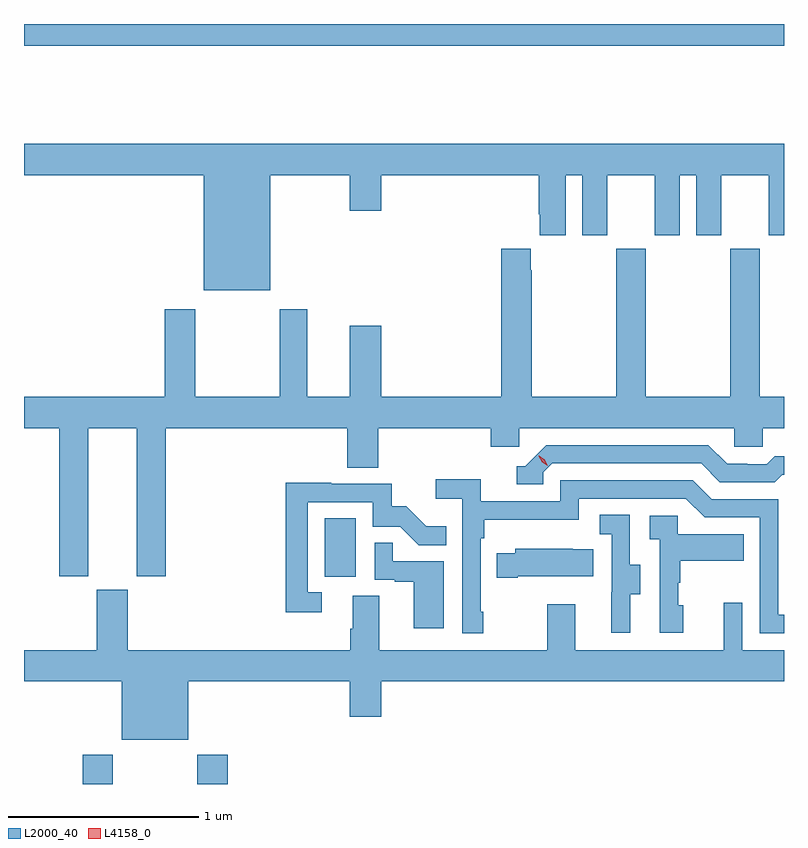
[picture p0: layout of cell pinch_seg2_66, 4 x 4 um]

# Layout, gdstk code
import gdstk
lib = gdstk.Library(unit=1e-6, precision=1e-09)
def R(c, l, rs):  # rectangles x0, y0, x1, y1
    for r in rs: c.add(gdstk.rectangle(r[:2], r[2:], *l))
def P(c, l, *ps):  # polygons
    for p in ps: c.add(gdstk.Polygon(p, *l))
L2000_40 = (2000, 40)
L4158_0 = (4158, 0)

pinch_seg2_66 = lib.new_cell('pinch_seg2_66')
R(pinch_seg2_66, L2000_40, [(1026.737,653.755,1026.897,653.908), (1027.342,653.755,1027.502,653.908), (1028.012,654.846,1028.176,655.153), (1026.429,657.64,1030.429,657.755)])
P(pinch_seg2_66, L2000_40, [(1027.726,656.96),(1028.144,656.96),(1028.144,656.772),(1028.308,656.772),(1028.308,656.96),(1029.137,656.96),(1029.137,656.755),(1029.143,656.755),(1029.143,656.643),(1029.28,656.643),(1029.28,656.96),(1029.368,656.96),(1029.368,656.643),(1029.499,656.643),(1029.499,656.96),(1029.749,656.96),(1029.749,656.643),(1029.88,656.643),(1029.88,656.96),(1029.968,656.96),(1029.968,656.643),(1030.099,656.643),(1030.099,656.96),(1030.349,656.96),(1030.349,656.643),(1030.429,656.643),(1030.429,657.124),(1026.429,657.124),(1026.429,656.96),(1027.376,656.96),(1027.376,656.354),(1027.726,656.354)],
  [(1026.766,655.628),(1027.022,655.628),(1027.022,654.849),(1027.175,654.849),(1027.175,655.628),(1028.129,655.628),(1028.129,655.42),(1028.294,655.42),(1028.294,655.628),(1028.885,655.628),(1028.885,655.53),(1029.036,655.53),(1029.036,655.628),(1030.167,655.628),(1030.167,655.53),(1030.317,655.53),(1030.317,655.628),(1030.429,655.628),(1030.429,655.792),(1030.302,655.792),(1030.302,656.572),(1030.147,656.572),(1030.147,655.792),(1029.702,655.792),(1029.702,656.572),(1029.547,656.572),(1029.547,655.792),(1029.102,655.792),(1029.102,656.459),(1029.097,656.459),(1029.097,656.572),(1028.942,656.572),(1028.942,655.792),(1028.308,655.792),(1028.308,656.167),(1028.144,656.167),(1028.144,655.792),(1027.921,655.792),(1027.921,656.254),(1027.774,656.254),(1027.774,655.792),(1027.329,655.792),(1027.329,656.254),(1027.169,656.254),(1027.169,655.792),(1026.429,655.792),(1026.429,655.628),(1026.614,655.628),(1026.614,654.849),(1026.766,654.849)],
  [(1029.162,655.395),(1029.21,655.443),(1029.993,655.443),(1030.092,655.344),(1030.381,655.344),(1030.42,655.383),(1030.429,655.383),(1030.429,655.48),(1030.381,655.48),(1030.339,655.437),(1030.236,655.437),(1030.236,655.44),(1030.129,655.44),(1030.03,655.539),(1029.177,655.539),(1029.066,655.428),(1029.023,655.428),(1029.023,655.332),(1029.162,655.332)],
  [(1028.845,654.661),(1028.832,654.661),(1028.832,655.049),(1028.852,655.049),(1028.852,655.145),(1029.348,655.145),(1029.348,655.257),(1029.912,655.257),(1030.011,655.158),(1030.302,655.158),(1030.302,654.549),(1030.429,654.549),(1030.429,654.645),(1030.398,654.645),(1030.398,655.254),(1030.048,655.254),(1029.949,655.353),(1029.252,655.353),(1029.252,655.242),(1028.834,655.242),(1028.834,655.358),(1028.595,655.358),(1028.595,655.256),(1028.736,655.256),(1028.736,654.549),(1028.845,654.549)],
  [(1027.996,654.765),(1027.923,654.765),(1027.923,655.239),(1028.265,655.239),(1028.265,655.11),(1028.409,655.11),(1028.507,655.012),(1028.651,655.012),(1028.651,655.111),(1028.547,655.111),(1028.44,655.218),(1028.364,655.218),(1028.364,655.335),(1028.045,655.335),(1028.045,655.34),(1027.807,655.34),(1027.807,654.66),(1027.996,654.66)],
  [(1029.619,654.754),(1029.673,654.754),(1029.673,654.909),(1029.618,654.909),(1029.618,655.172),(1029.459,655.172),(1029.459,655.069),(1029.522,655.069),(1029.522,654.765),(1029.521,654.765),(1029.521,654.552),(1029.619,654.552)],
  [(1029.898,654.696),(1029.873,654.696),(1029.873,654.815),(1029.882,654.815),(1029.882,654.929),(1030.217,654.929),(1030.217,655.069),(1029.87,655.069),(1029.87,655.167),(1029.723,655.167),(1029.723,655.043),(1029.774,655.043),(1029.774,654.552),(1029.898,654.552)],
  [(1028.638,654.927),(1028.369,654.927),(1028.369,655.025),(1028.274,655.025),(1028.274,654.831),(1028.381,654.831),(1028.381,654.819),(1028.48,654.819),(1028.48,654.576),(1028.638,654.576)],
  [(1029.028,654.848),(1029.425,654.848),(1029.425,654.991),(1029.317,654.991),(1029.317,654.994),(1029.015,654.994),(1029.015,654.97),(1028.917,654.97),(1028.917,654.841),(1029.028,654.841)],
  [(1027.294,654.296),(1028.144,654.296),(1028.144,654.108),(1028.308,654.108),(1028.308,654.296),(1030.429,654.296),(1030.429,654.46),(1030.209,654.46),(1030.209,654.709),(1030.112,654.709),(1030.112,654.46),(1029.331,654.46),(1029.331,654.7),(1029.184,654.7),(1029.184,654.46),(1028.299,654.46),(1028.299,654.746),(1028.159,654.746),(1028.159,654.572),(1028.147,654.572),(1028.147,654.46),(1026.976,654.46),(1026.976,654.777),(1026.812,654.777),(1026.812,654.46),(1026.429,654.46),(1026.429,654.296),(1026.944,654.296),(1026.944,653.987),(1027.294,653.987)])
P(pinch_seg2_66, L4158_0, [(1029.186,655.43),(1029.156,655.449),(1029.139,655.481),(1029.139,655.482),(1029.14,655.482),(1029.17,655.462),(1029.186,655.43),(1029.186,655.43)])

lib.write_gds('pinch_seg2_66.gds')
